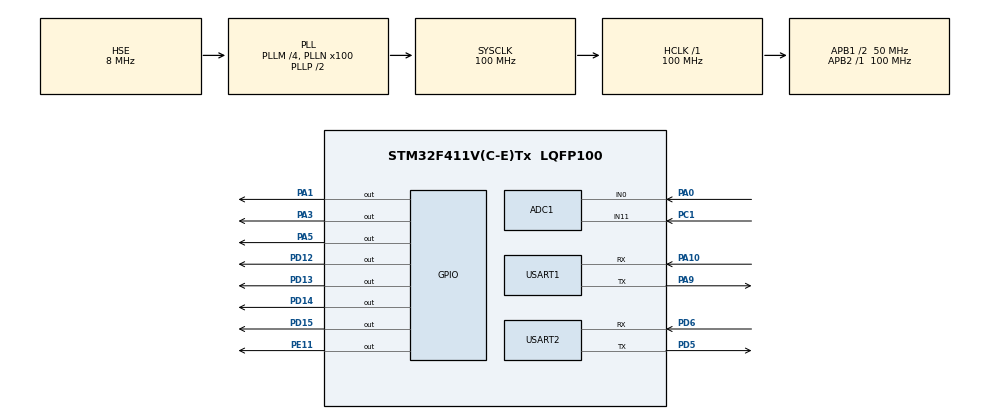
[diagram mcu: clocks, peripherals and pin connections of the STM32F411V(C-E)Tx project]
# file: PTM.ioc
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ADC1.Channel-0\#ChannelRegularConversion=ADC_CHANNEL_0
ADC1.NbrOfConversionFlag=1
ADC1.Rank-0\#ChannelRegularConversion=1
ADC1.SamplingTime-0\#ChannelRegularConversion=ADC_SAMPLETIME_3CYCLES
ADC1.master=1
Mcu.Family=STM32F4
Mcu.Name=STM32F411V(C-E)Tx
Mcu.Package=LQFP100
NVIC.ADC_IRQn=true\:0\:0\:false\:false\:true\:true
NVIC.PriorityGroup=NVIC_PRIORITYGROUP_4
NVIC.USART1_IRQn=true\:0\:0\:false\:false\:true\:true
NVIC.USART2_IRQn=true\:0\:0\:false\:true\:true\:1\:true
PA0-WKUP.Signal=ADCx_IN0
PA1.Signal=GPIO_Output
PA10.Mode=Asynchronous
PA10.Signal=USART1_RX
PA3.Signal=GPIO_Output
PA5.Signal=GPIO_Output
PA9.Mode=Asynchronous
PA9.Signal=USART1_TX
PC1.Signal=ADCx_IN11
PD12.Signal=GPIO_Output
PD13.Signal=GPIO_Output
PD14.Signal=GPIO_Output
PD15.Signal=GPIO_Output
PD5.Mode=Asynchronous
PD5.Signal=USART2_TX
PD6.Mode=Asynchronous
PD6.Signal=USART2_RX
PE11.Signal=GPIO_Output
PH0\ -\ OSC_IN.Mode=HSE-External-Oscillator
PH0\ -\ OSC_IN.Signal=RCC_OSC_IN
PH1\ -\ OSC_OUT.Mode=HSE-External-Oscillator
PH1\ -\ OSC_OUT.Signal=RCC_OSC_OUT
ProjectManager.HeapSize=0x200
ProjectManager.StackSize=0x400
ProjectManager.TargetToolchain=SW4STM32
RCC.48MHZClocksFreq_Value=50000000
RCC.AHBFreq_Value=100000000
RCC.APB1CLKDivider=RCC_HCLK_DIV2
RCC.APB1Freq_Value=50000000
RCC.APB1TimFreq_Value=100000000
RCC.APB2Freq_Value=100000000
RCC.APB2TimFreq_Value=100000000
RCC.CortexFreq_Value=100000000
RCC.HCLKFreq_Value=100000000
RCC.HSE_VALUE=8000000
RCC.HSI_VALUE=16000000
RCC.LSE_VALUE=32768
RCC.PLLM=4
RCC.PLLN=100
RCC.PLLSourceVirtual=RCC_PLLSOURCE_HSE
RCC.SYSCLKFreq_VALUE=100000000
RCC.SYSCLKSource=RCC_SYSCLKSOURCE_PLLCLK
RCC.VCOOutputFreq_Value=200000000
SH.ADCx_IN0.0=ADC1_IN0,IN0
SH.ADCx_IN11.0=ADC1_IN11,IN11
USART1.VirtualMode=VM_ASYNC
USART2.VirtualMode=VM_ASYNC
board=custom

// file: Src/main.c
/**
  ******************************************************************************
  * @file           : main.c
  * @brief          : Main program body
  ******************************************************************************
  ** This notice applies to any and all portions of this file
  * that are not between comment pairs USER CODE BEGIN and
  * USER CODE END. Other portions of this file, whether
  * inserted by the user or by software development tools
  * are owned by their respective copyright owners.
  *
  * COPYRIGHT(c) 2019 STMicroelectronics
  *
  * Redistribution and use in source and binary forms, with or without modification,
  * are permitted provided that the following conditions are met:
  *   1. Redistributions of source code must retain the above copyright notice,
  *      this list of conditions and the following disclaimer.
  *   2. Redistributions in binary form must reproduce the above copyright notice,
  *      this list of conditions and the following disclaimer in the documentation
  *      and/or other materials provided with the distribution.
  *   3. Neither the name of STMicroelectronics nor the names of its contributors
  *      may be used to endorse or promote products derived from this software
  *      without specific prior written permission.
  *
  * THIS SOFTWARE IS PROVIDED BY THE COPYRIGHT HOLDERS AND CONTRIBUTORS "AS IS"
  * AND ANY EXPRESS OR IMPLIED WARRANTIES, INCLUDING, BUT NOT LIMITED TO, THE
  * IMPLIED WARRANTIES OF MERCHANTABILITY AND FITNESS FOR A PARTICULAR PURPOSE ARE
  * DISCLAIMED. IN NO EVENT SHALL THE COPYRIGHT HOLDER OR CONTRIBUTORS BE LIABLE
  * FOR ANY DIRECT, INDIRECT, INCIDENTAL, SPECIAL, EXEMPLARY, OR CONSEQUENTIAL
  * DAMAGES (INCLUDING, BUT NOT LIMITED TO, PROCUREMENT OF SUBSTITUTE GOODS OR
  * SERVICES; LOSS OF USE, DATA, OR PROFITS; OR BUSINESS INTERRUPTION) HOWEVER
  * CAUSED AND ON ANY THEORY OF LIABILITY, WHETHER IN CONTRACT, STRICT LIABILITY,
  * OR TORT (INCLUDING NEGLIGENCE OR OTHERWISE) ARISING IN ANY WAY OUT OF THE USE
  * OF THIS SOFTWARE, EVEN IF ADVISED OF THE POSSIBILITY OF SUCH DAMAGE.
  *
  ******************************************************************************
  */
#include "main.h"
#include "stm32f4xx_hal.h"

/* USER CODE BEGIN Includes */
#include "headers/esp.h"
#include "headers/stringOperations.h"
#include "headers/flowerService.h"
/* USER CODE END Includes */

ADC_HandleTypeDef hadc1;

UART_HandleTypeDef huart1;
UART_HandleTypeDef huart2;

/* USER CODE BEGIN PV */
/* Private variables ---------------------------------------------------------*/
uint8_t receiveUART[20];
uint16_t sizeReceiveUART = 20;
uint16_t canWater = 0;
uint8_t counter = 0;
/* USER CODE END PV */

void SystemClock_Config(void);
static void MX_GPIO_Init(void);
static void MX_USART2_UART_Init(void);
static void MX_USART1_UART_Init(void);
static void MX_ADC1_Init(void);
static void MX_NVIC_Init(void);

/* USER CODE BEGIN PFP */
/* Private function prototypes -----------------------------------------------*/
void HAL_UART_RxCpltCallback(UART_HandleTypeDef *huart)
{
	if(huart->Instance == USART1){
	       // tutaj umieszczamy kod wykonywany po otrzymaniu bajtu
			if (receiveUART[0] == 'P' && receiveUART[19] == 'P'){
				canWater++;
			}
			HAL_UART_Receive_IT(&huart1, receiveUART, sizeReceiveUART);
	   }

}

/* USER CODE END PFP */

int main(void)
{

  /* MCU Configuration----------------------------------------------------------*/

  /* Reset of all peripherals, Initializes the Flash interface and the Systick. */
  HAL_Init();

  /* Configure the system clock */
  SystemClock_Config();

  /* Initialize all configured peripherals */
  MX_GPIO_Init();
  MX_USART2_UART_Init();
  MX_USART1_UART_Init();
  MX_ADC1_Init();

  /* Initialize interrupts */
  MX_NVIC_Init();
  /* USER CODE BEGIN 2 */
  HAL_UART_Receive_IT(&huart1, receiveUART, sizeReceiveUART);
  /* USER CODE END 2 */

  /* Infinite loop */
  /* USER CODE BEGIN WHILE */
  while (1)
  {
	  turnPumpOff();
	  HAL_Delay(1000);
//	  setHadc(&hadc1);
	  ConfigESP(&huart2);

	  HAL_ADC_Start(&hadc1);

	  if(HAL_ADC_PollForConversion(&hadc1, 10) == HAL_OK)
	  	  {
	  		  uint16_t humi = (HAL_ADC_GetValue(&hadc1));
	  		  setHumidity(humi);
	  	  }

	  if ( flowerService(canWater) == 1 ){
		  canWater = 0;

		  // reset bedzie robiony tylko raz dlatego, ze /reset_flower odejmuje nam wartosc o -(jednostka dla kwiata na jedno podlanie)
		  for(int i = 0; i < 1; i++){
			  SendResetFlowerState(&huart2);
		  }
	  }

  /* USER CODE END WHILE */

  }

}

void SystemClock_Config(void)
{

  RCC_OscInitTypeDef RCC_OscInitStruct;
  RCC_ClkInitTypeDef RCC_ClkInitStruct;

    /**Configure the main internal regulator output voltage
    */
  __HAL_RCC_PWR_CLK_ENABLE();

  __HAL_PWR_VOLTAGESCALING_CONFIG(PWR_REGULATOR_VOLTAGE_SCALE1);

    /**Initializes the CPU, AHB and APB busses clocks
    */
  RCC_OscInitStruct.OscillatorType = RCC_OSCILLATORTYPE_HSE;
  RCC_OscInitStruct.HSEState = RCC_HSE_ON;
  RCC_OscInitStruct.PLL.PLLState = RCC_PLL_ON;
  RCC_OscInitStruct.PLL.PLLSource = RCC_PLLSOURCE_HSE;
  RCC_OscInitStruct.PLL.PLLM = 4;
  RCC_OscInitStruct.PLL.PLLN = 100;
  RCC_OscInitStruct.PLL.PLLP = RCC_PLLP_DIV2;
  RCC_OscInitStruct.PLL.PLLQ = 4;
  if (HAL_RCC_OscConfig(&RCC_OscInitStruct) != HAL_OK)
  {
    _Error_Handler(__FILE__, __LINE__);
  }

    /**Initializes the CPU, AHB and APB busses clocks
    */
  RCC_ClkInitStruct.ClockType = RCC_CLOCKTYPE_HCLK|RCC_CLOCKTYPE_SYSCLK
                              |RCC_CLOCKTYPE_PCLK1|RCC_CLOCKTYPE_PCLK2;
  RCC_ClkInitStruct.SYSCLKSource = RCC_SYSCLKSOURCE_PLLCLK;
  RCC_ClkInitStruct.AHBCLKDivider = RCC_SYSCLK_DIV1;
  RCC_ClkInitStruct.APB1CLKDivider = RCC_HCLK_DIV2;
  RCC_ClkInitStruct.APB2CLKDivider = RCC_HCLK_DIV1;

  if (HAL_RCC_ClockConfig(&RCC_ClkInitStruct, FLASH_LATENCY_3) != HAL_OK)
  {
    _Error_Handler(__FILE__, __LINE__);
  }

    /**Configure the Systick interrupt time
    */
  HAL_SYSTICK_Config(HAL_RCC_GetHCLKFreq()/1000);

    /**Configure the Systick
    */
  HAL_SYSTICK_CLKSourceConfig(SYSTICK_CLKSOURCE_HCLK);

  /* SysTick_IRQn interrupt configuration */
  HAL_NVIC_SetPriority(SysTick_IRQn, 0, 0);
}

/**
  * @brief NVIC Configuration.
  * @retval None
  */
static void MX_NVIC_Init(void)
{
  /* USART2_IRQn interrupt configuration */
  HAL_NVIC_SetPriority(USART2_IRQn, 0, 0);
  HAL_NVIC_EnableIRQ(USART2_IRQn);
}

/* ADC1 init function */
static void MX_ADC1_Init(void)
{

  ADC_ChannelConfTypeDef sConfig;

    /**Configure the global features of the ADC (Clock, Resolution, Data Alignment and number of conversion)
    */
  hadc1.Instance = ADC1;
  hadc1.Init.ClockPrescaler = ADC_CLOCK_SYNC_PCLK_DIV4;
  hadc1.Init.Resolution = ADC_RESOLUTION_12B;
  hadc1.Init.ScanConvMode = DISABLE;
  hadc1.Init.ContinuousConvMode = DISABLE;
  hadc1.Init.DiscontinuousConvMode = DISABLE;
  hadc1.Init.ExternalTrigConvEdge = ADC_EXTERNALTRIGCONVEDGE_NONE;
  hadc1.Init.ExternalTrigConv = ADC_SOFTWARE_START;
  hadc1.Init.DataAlign = ADC_DATAALIGN_RIGHT;
  hadc1.Init.NbrOfConversion = 1;
  hadc1.Init.DMAContinuousRequests = DISABLE;
  hadc1.Init.EOCSelection = ADC_EOC_SINGLE_CONV;
  if (HAL_ADC_Init(&hadc1) != HAL_OK)
  {
    _Error_Handler(__FILE__, __LINE__);
  }

    /**Configure for the selected ADC regular channel its corresponding rank in the sequencer and its sample time.
    */
  sConfig.Channel = ADC_CHANNEL_0;
  sConfig.Rank = 1;
  sConfig.SamplingTime = ADC_SAMPLETIME_3CYCLES;
  if (HAL_ADC_ConfigChannel(&hadc1, &sConfig) != HAL_OK)
  {
    _Error_Handler(__FILE__, __LINE__);
  }

}

/* USART1 init function */
static void MX_USART1_UART_Init(void)
{

  huart1.Instance = USART1;
  huart1.Init.BaudRate = 115200;
  huart1.Init.WordLength = UART_WORDLENGTH_8B;
  huart1.Init.StopBits = UART_STOPBITS_1;
  huart1.Init.Parity = UART_PARITY_NONE;
  huart1.Init.Mode = UART_MODE_TX_RX;
  huart1.Init.HwFlowCtl = UART_HWCONTROL_NONE;
  huart1.Init.OverSampling = UART_OVERSAMPLING_16;
  if (HAL_UART_Init(&huart1) != HAL_OK)
  {
    _Error_Handler(__FILE__, __LINE__);
  }

}

/* USART2 init function */
static void MX_USART2_UART_Init(void)
{

  huart2.Instance = USART2;
  huart2.Init.BaudRate = 115200;
  huart2.Init.WordLength = UART_WORDLENGTH_8B;
  huart2.Init.StopBits = UART_STOPBITS_1;
  huart2.Init.Parity = UART_PARITY_NONE;
  huart2.Init.Mode = UART_MODE_TX_RX;
  huart2.Init.HwFlowCtl = UART_HWCONTROL_NONE;
  huart2.Init.OverSampling = UART_OVERSAMPLING_16;
  if (HAL_UART_Init(&huart2) != HAL_OK)
  {
    _Error_Handler(__FILE__, __LINE__);
  }

}

/** Configure pins as
        * Analog
        * Input
        * Output
        * EVENT_OUT
        * EXTI
*/
static void MX_GPIO_Init(void)
{

  GPIO_InitTypeDef GPIO_InitStruct;

  /* GPIO Ports Clock Enable */
  __HAL_RCC_GPIOH_CLK_ENABLE();
  __HAL_RCC_GPIOC_CLK_ENABLE();
  __HAL_RCC_GPIOA_CLK_ENABLE();
  __HAL_RCC_GPIOE_CLK_ENABLE();
  __HAL_RCC_GPIOD_CLK_ENABLE();

  /*Configure GPIO pin Output Level */
  HAL_GPIO_WritePin(GPIOA, GPIO_PIN_1|GPIO_PIN_3|GPIO_PIN_5, GPIO_PIN_RESET);

  /*Configure GPIO pin Output Level */
  HAL_GPIO_WritePin(GPIOE, GPIO_PIN_11, GPIO_PIN_RESET);

  /*Configure GPIO pin Output Level */
  HAL_GPIO_WritePin(GPIOD, GPIO_PIN_12|GPIO_PIN_13|GPIO_PIN_14|GPIO_PIN_15, GPIO_PIN_RESET);

  /*Configure GPIO pins : PA1 PA3 PA5 */
  GPIO_InitStruct.Pin = GPIO_PIN_1|GPIO_PIN_3|GPIO_PIN_5;
  GPIO_InitStruct.Mode = GPIO_MODE_OUTPUT_PP;
  GPIO_InitStruct.Pull = GPIO_NOPULL;
  GPIO_InitStruct.Speed = GPIO_SPEED_FREQ_LOW;
  HAL_GPIO_Init(GPIOA, &GPIO_InitStruct);

  /*Configure GPIO pin : PE11 */
  GPIO_InitStruct.Pin = GPIO_PIN_11;
  GPIO_InitStruct.Mode = GPIO_MODE_OUTPUT_PP;
  GPIO_InitStruct.Pull = GPIO_NOPULL;
  GPIO_InitStruct.Speed = GPIO_SPEED_FREQ_LOW;
  HAL_GPIO_Init(GPIOE, &GPIO_InitStruct);

  /*Configure GPIO pins : PD12 PD13 PD14 PD15 */
  GPIO_InitStruct.Pin = GPIO_PIN_12|GPIO_PIN_13|GPIO_PIN_14|GPIO_PIN_15;
  GPIO_InitStruct.Mode = GPIO_MODE_OUTPUT_PP;
  GPIO_InitStruct.Pull = GPIO_NOPULL;
  GPIO_InitStruct.Speed = GPIO_SPEED_FREQ_LOW;
  HAL_GPIO_Init(GPIOD, &GPIO_InitStruct);

}

void _Error_Handler(char *file, int line)
{
  while(1)
  {
  }
}

/************************ (C) COPYRIGHT STMicroelectronics *****END OF FILE****/
